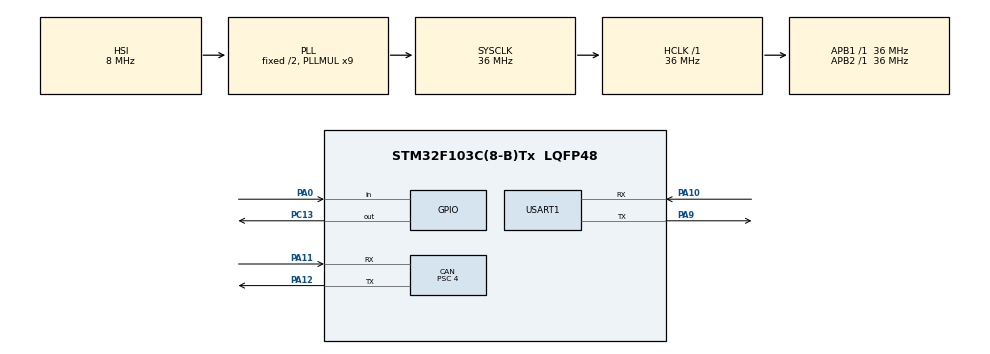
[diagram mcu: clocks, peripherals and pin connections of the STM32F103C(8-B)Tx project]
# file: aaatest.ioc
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CAN.BS1=CAN_BS1_6TQ
CAN.BS2=CAN_BS2_2TQ
CAN.CalculateBaudRate=1000000
CAN.CalculateTimeBit=1000
CAN.CalculateTimeQuantum=111.11111111111111
CAN.Prescaler=4
Mcu.Family=STM32F1
Mcu.Name=STM32F103C(8-B)Tx
Mcu.Package=LQFP48
NVIC.PriorityGroup=NVIC_PRIORITYGROUP_4
NVIC.USB_LP_CAN1_RX0_IRQn=true\:0\:0\:false\:false\:true\:true\:true\:true
PA0-WKUP.GPIO_PuPd=GPIO_PULLUP
PA0-WKUP.Signal=GPIO_Input
PA10.Mode=Asynchronous
PA10.Signal=USART1_RX
PA11.Mode=CAN_Activate
PA11.Signal=CAN_RX
PA12.Mode=CAN_Activate
PA12.Signal=CAN_TX
PA13.Mode=Serial_Wire
PA13.Signal=SYS_JTMS-SWDIO
PA14.Mode=Serial_Wire
PA14.Signal=SYS_JTCK-SWCLK
PA9.Mode=Asynchronous
PA9.Signal=USART1_TX
PC13-TAMPER-RTC.PinState=GPIO_PIN_SET
PC13-TAMPER-RTC.Signal=GPIO_Output
ProjectManager.HeapSize=0x200
ProjectManager.StackSize=0x400
ProjectManager.TargetToolchain=CMake
RCC.AHBFreq_Value=36000000
RCC.APB1Freq_Value=36000000
RCC.APB1TimFreq_Value=36000000
RCC.APB2Freq_Value=36000000
RCC.APB2TimFreq_Value=36000000
RCC.HCLKFreq_Value=36000000
RCC.PLLMUL=RCC_PLL_MUL9
RCC.SYSCLKFreq_VALUE=36000000
RCC.SYSCLKSource=RCC_SYSCLKSOURCE_PLLCLK
RCC.USBFreq_Value=36000000
USART1.VirtualMode=VM_ASYNC
board=custom

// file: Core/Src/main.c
/* USER CODE BEGIN Header */
/**
  ******************************************************************************
  * @file           : main.c
  * @brief          : Main program body
  ******************************************************************************
  * @attention
  *
  * Copyright (c) 2026 STMicroelectronics.
  * All rights reserved.
  *
  * This software is licensed under terms that can be found in the LICENSE file
  * in the root directory of this software component.
  * If no LICENSE file comes with this software, it is provided AS-IS.
  *
  ******************************************************************************
  */
/* USER CODE END Header */
#include "main.h"
#include "can.h"
#include "usart.h"
#include "gpio.h"

/* USER CODE BEGIN Includes */
#include "stdio.h"
#include "string.h"
#include "can.h"
/* USER CODE END Includes */

void SystemClock_Config(void);

/* USER CODE BEGIN 0 */
// 烧录主机取消注释下面这行，烧录从机注释掉它
//#define MASTER
 #define SLAVE

uint8_t last_key_state = 0;
/* USER CODE END 0 */

int main(void)
{

  /* MCU Configuration--------------------------------------------------------*/

  /* Reset of all peripherals, Initializes the Flash interface and the Systick. */
  HAL_Init();

  /* Configure the system clock */
  SystemClock_Config();

  /* Initialize all configured peripherals */
  MX_GPIO_Init();
  MX_CAN_Init();
  MX_USART1_UART_Init();
  /* USER CODE BEGIN 2 */

// 初始化CAN
CAN_Init();
 // 串口打印启动信息
char msg[] = "CAN Test Started!\r\n";
HAL_UART_Transmit(&huart1, (uint8_t*)msg, sizeof(msg)-1, HAL_MAX_DELAY);

#if defined(MASTER)
    char msg2[] = "Mode: MASTER\r\n";
    HAL_UART_Transmit(&huart1, (uint8_t*)msg2, sizeof(msg2)-1, HAL_MAX_DELAY);
#elif defined(SLAVE)
    char msg2[] = "Mode: SLAVE\r\n";
    HAL_UART_Transmit(&huart1, (uint8_t*)msg2, sizeof(msg2)-1, HAL_MAX_DELAY);
#endif
  /* USER CODE END 2 */

  /* Infinite loop */
  /* USER CODE BEGIN WHILE */
  while (1)
  {
    #if defined(MASTER)
    uint8_t current_key = HAL_GPIO_ReadPin(GPIOA, GPIO_PIN_0);

    // 检测下降沿：按键按下的瞬间（高->低）
    if (last_key_state == GPIO_PIN_SET && current_key == GPIO_PIN_RESET)
    {

        uint8_t tx_data = 0x11;
        if (CAN_Send_Data(CAN_MASTER_TX_ID, &tx_data, 1) == CAN_SEND_SUCCESS)
        {
            char sent_msg[] = "Sent: 0x11\r\n";
            HAL_UART_Transmit(&huart1, (uint8_t*)sent_msg, sizeof(sent_msg)-1, HAL_MAX_DELAY);
        }
        else
        {
            char fail_msg[] = "Send failed!\r\n";
            HAL_UART_Transmit(&huart1, (uint8_t*)fail_msg, sizeof(fail_msg)-1, HAL_MAX_DELAY);
        }

        // 更新 last_key_state
        last_key_state = current_key;

        // 等待按键完全松开（防止抖动）
        while (HAL_GPIO_ReadPin(GPIOA, GPIO_PIN_0) == GPIO_PIN_RESET)
        {
            HAL_Delay(50);  // 等待按键释放（低电平保持时等待）
        }
    }

    // 在循环末尾更新 last_key_state
    last_key_state = current_key;

    // 接收检查（保持不变）
    if (CAN_Is_New_Data_Received())
    {
        uint8_t rx = CAN_Get_Received_Data();
        if (rx == 0x22)
        {
            char ack_msg[] = "Received ACK: 0x22\r\n";
            HAL_UART_Transmit(&huart1, (uint8_t*)ack_msg, sizeof(ack_msg)-1, HAL_MAX_DELAY);
        }
        CAN_Clear_Received_Flag();
    }

    #elif defined(SLAVE)
    /* 从机逻辑 */
     if (CAN_Is_New_Data_Received())
    {
        uint8_t rx = CAN_Get_Received_Data();
        if (rx == 0x11)
        {
            HAL_GPIO_TogglePin(GPIOC, GPIO_PIN_13);
            char rx_msg[] = "Received: 0x11, LED toggled\r\n";
            HAL_UART_Transmit(&huart1, (uint8_t*)rx_msg, sizeof(rx_msg)-1, HAL_MAX_DELAY);

            // 回复 0x22
            uint8_t reply = 0x22;
            if (CAN_Send_Data(CAN_SLAVE_TX_ID, &reply, 1) == CAN_SEND_SUCCESS)
            {
                char ack_sent[] = "Reply 0x22 sent\r\n";
                HAL_UART_Transmit(&huart1, (uint8_t*)ack_sent, sizeof(ack_sent)-1, HAL_MAX_DELAY);
            }
            else
            {
                char ack_fail[] = "Reply 0x22 failed\r\n";
                HAL_UART_Transmit(&huart1, (uint8_t*)ack_fail, sizeof(ack_fail)-1, HAL_MAX_DELAY);
            }
        }
        CAN_Clear_Received_Flag();
    }
#endif

    HAL_Delay(100);  // 轮询间隔

    /* USER CODE END WHILE */

  }
}

void SystemClock_Config(void)
{
  RCC_OscInitTypeDef RCC_OscInitStruct = {0};
  RCC_ClkInitTypeDef RCC_ClkInitStruct = {0};

  /** Initializes the RCC Oscillators according to the specified parameters
  * in the RCC_OscInitTypeDef structure.
  */
  RCC_OscInitStruct.OscillatorType = RCC_OSCILLATORTYPE_HSI;
  RCC_OscInitStruct.HSIState = RCC_HSI_ON;
  RCC_OscInitStruct.HSICalibrationValue = RCC_HSICALIBRATION_DEFAULT;
  RCC_OscInitStruct.PLL.PLLState = RCC_PLL_ON;
  RCC_OscInitStruct.PLL.PLLSource = RCC_PLLSOURCE_HSI_DIV2;
  RCC_OscInitStruct.PLL.PLLMUL = RCC_PLL_MUL9;
  if (HAL_RCC_OscConfig(&RCC_OscInitStruct) != HAL_OK)
  {
    Error_Handler();
  }

  /** Initializes the CPU, AHB and APB buses clocks
  */
  RCC_ClkInitStruct.ClockType = RCC_CLOCKTYPE_HCLK|RCC_CLOCKTYPE_SYSCLK
                              |RCC_CLOCKTYPE_PCLK1|RCC_CLOCKTYPE_PCLK2;
  RCC_ClkInitStruct.SYSCLKSource = RCC_SYSCLKSOURCE_PLLCLK;
  RCC_ClkInitStruct.AHBCLKDivider = RCC_SYSCLK_DIV1;
  RCC_ClkInitStruct.APB1CLKDivider = RCC_HCLK_DIV1;
  RCC_ClkInitStruct.APB2CLKDivider = RCC_HCLK_DIV1;

  if (HAL_RCC_ClockConfig(&RCC_ClkInitStruct, FLASH_LATENCY_1) != HAL_OK)
  {
    Error_Handler();
  }
}

void Error_Handler(void)
{
  __disable_irq();
  while (1)
  {
  }
}
